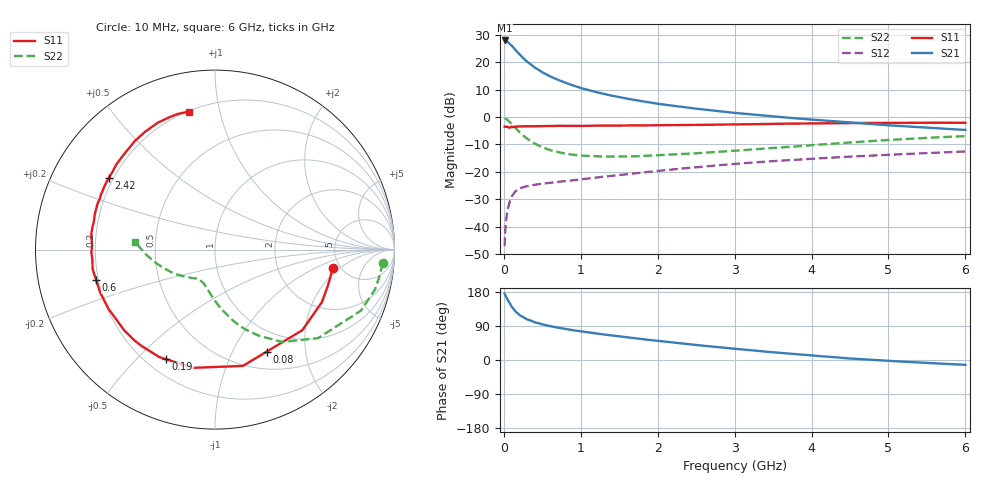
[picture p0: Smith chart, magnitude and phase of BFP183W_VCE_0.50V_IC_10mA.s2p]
! Infineon Technologies  Discrete & RF Semiconductors
! BFP183W
! VCE = 0.50V,  IC =  10 mA
! Common Emitter S-Parameters:  Jan 2016
# GHz  S  MA  R  50
!  f  S11  S21  S12  S22
! GHz  MAG  ANG  MAG  ANG  MAG  ANG  MAG  ANG
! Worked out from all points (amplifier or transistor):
!   210 points, 10 MHz to 6 GHz, reference 50 ohm
!   highest |S21| = 27.9 dB at 10 MHz (marker M1)
!   |S21| within 3 dB of that: start of sweep to 136.7 MHz
!   unconditionally stable (mu >= 1): 925.1 MHz to end of sweep
!   at 185 MHz: K = 0.28, MSG = 24.9 dB, |S12| = -26.4 dB
!   at 1.52 GHz: K = 1.28, MAG = 11.0 dB, |S12| = -21.2 dB
!   at 6 GHz: K = 1.24, MAG = 1.0 dB, |S12| = -12.6 dB
!   S11 on the Smith chart (normalised r, x): 10 MHz: 4.35, -1.60; 80 MHz: 0.72, -1.37; 190 MHz: 0.28, -0.61; 600 MHz: 0.19, -0.12; 2.42 GHz: 0.18, +0.30; 6 GHz: 0.20, +0.81
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0.01  0.6647 -8.9  24.79 174.9  0.0044 86.9  0.9381 -4.6
0.03  0.6636 -26.2  24.52 166.9  0.013 77.1  0.9188 -14.0
0.05  0.6621 -42.7  23.45 158.3  0.0208 70.7  0.8815 -22.7
0.08  0.6372 -63.1  21.22 148.7  0.0292 60.0  0.7969 -32.8
0.1  0.6664 -76.5  20.13 141.2  0.0351 55.8  0.7568 -40.7
0.15  0.6704 -100.6  16.75 128.2  0.044 46.3  0.6353 -54.1
0.19  0.669 -114.1  14.51 121.3  0.0481 41.2  0.5542 -61.2
0.2  0.6744 -117.4  13.99 119.2  0.0492 40.1  0.5355 -63.3
0.24  0.6746 -126.9  12.31 114.1  0.0517 36.9  0.4748 -69.2
0.3  0.6769 -138.1  10.23 107.4  0.0548 33.9  0.4035 -76.2
0.4  0.6789 -150.8  7.989 99.6  0.0579 31.1  0.3274 -84.7
0.5  0.6831 -159.4  6.524 93.8  0.0607 30.8  0.2801 -90.8
0.6  0.683 -165.5  5.502 89.2  0.0628 30.7  0.2486 -95.8
0.8  0.6857 -175.4  4.187 81.8  0.0675 32.3  0.214 -103.5
1.02  0.6859 177.4  3.313 75.2  0.0733 34.4  0.1971 -109.7
1.4  0.6927 167.3  2.445 64.9  0.0843 37.4  0.1896 -117.6
2.02  0.7059 153.7  1.727 50.1  0.1042 40.0  0.2004 -127.5
2.42  0.7138 146.1  1.456 41.4  0.1181 39.9  0.2141 -134.0
3.1  0.7332 134.2  1.151 27.9  0.1426 38.1  0.247 -145.1
4.1  0.765 119.4  0.873 10.4  0.1758 33.3  0.3126 -162.2
5.1  0.7805 108.3  0.69 -3.4  0.2069 27.5  0.387 -176.4
6  0.7824 100.8  0.58 -12.8  0.2347 22.5  0.4465 174.2
